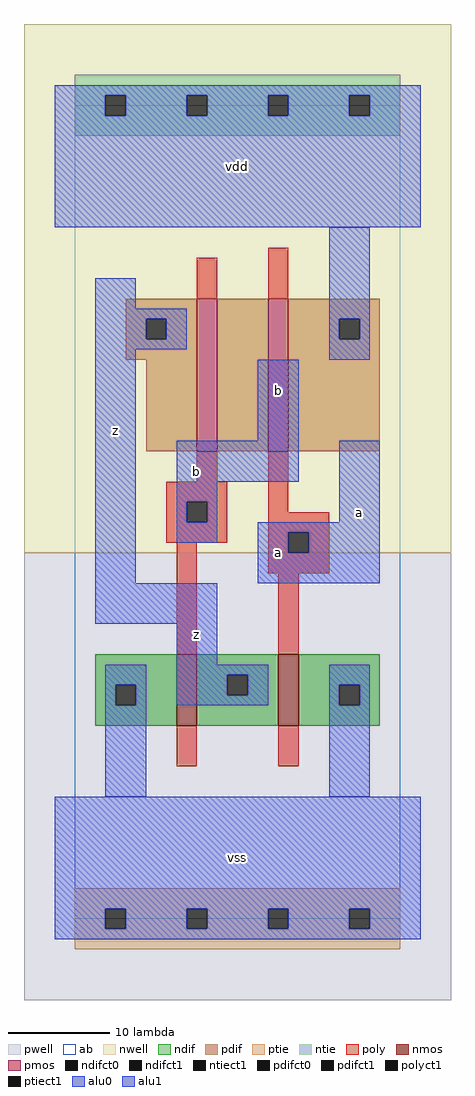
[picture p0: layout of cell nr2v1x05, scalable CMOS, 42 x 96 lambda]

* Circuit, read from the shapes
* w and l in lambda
.subckt nr2v1x05 a b vdd vss z
M1 z b vss vss nfet w=7 l=2
M2 vss a z vss nfet w=7 l=2
M3 n1 b z vdd pfet w=15 l=2
M4 vdd a n1 vdd pfet w=15 l=2
.ends

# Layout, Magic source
magic
tech scmos
<< ab >>
rect 0 0 32 80
<< nwell >>
rect -5 36 37 88
<< pwell >>
rect -5 -8 37 36
<< poly >>
rect 12 61 14 65
rect 19 61 21 66
rect 12 43 14 46
rect 9 41 15 43
rect 9 39 11 41
rect 13 39 15 41
rect 9 37 15 39
rect 19 40 21 46
rect 19 38 25 40
rect 10 26 12 37
rect 19 36 21 38
rect 23 36 25 38
rect 19 34 25 36
rect 20 26 22 34
rect 10 15 12 19
rect 20 15 22 19
<< ndif >>
rect 2 23 10 26
rect 2 21 4 23
rect 6 21 10 23
rect 2 19 10 21
rect 12 24 20 26
rect 12 22 15 24
rect 17 22 20 24
rect 12 19 20 22
rect 22 23 30 26
rect 22 21 26 23
rect 28 21 30 23
rect 22 19 30 21
<< pdif >>
rect 5 59 12 61
rect 5 57 7 59
rect 9 57 12 59
rect 5 55 12 57
rect 7 46 12 55
rect 14 46 19 61
rect 21 59 30 61
rect 21 57 26 59
rect 28 57 30 59
rect 21 46 30 57
<< alu1 >>
rect -2 81 34 82
rect -2 79 3 81
rect 5 79 11 81
rect 13 79 19 81
rect 21 79 27 81
rect 29 79 34 81
rect -2 68 34 79
rect 2 60 6 63
rect 2 59 11 60
rect 2 57 7 59
rect 9 57 11 59
rect 2 56 11 57
rect 2 33 6 56
rect 18 47 22 55
rect 10 43 22 47
rect 10 41 14 43
rect 10 39 11 41
rect 13 39 14 41
rect 26 39 30 47
rect 10 37 14 39
rect 18 38 30 39
rect 18 36 21 38
rect 23 36 30 38
rect 18 33 30 36
rect 2 29 14 33
rect 10 25 14 29
rect 10 24 19 25
rect 10 22 15 24
rect 17 22 19 24
rect 10 21 19 22
rect -2 1 34 12
rect -2 -1 3 1
rect 5 -1 11 1
rect 13 -1 19 1
rect 21 -1 27 1
rect 29 -1 34 1
rect -2 -2 34 -1
<< ptie >>
rect 0 1 32 3
rect 0 -1 3 1
rect 5 -1 11 1
rect 13 -1 19 1
rect 21 -1 27 1
rect 29 -1 32 1
rect 0 -3 32 -1
<< ntie >>
rect 0 81 32 83
rect 0 79 3 81
rect 5 79 11 81
rect 13 79 19 81
rect 21 79 27 81
rect 29 79 32 81
rect 0 77 32 79
<< nmos >>
rect 10 19 12 26
rect 20 19 22 26
<< pmos >>
rect 12 46 14 61
rect 19 46 21 61
<< polyct1 >>
rect 11 39 13 41
rect 21 36 23 38
<< ndifct0 >>
rect 4 21 6 23
rect 26 21 28 23
<< ndifct1 >>
rect 15 22 17 24
<< ntiect1 >>
rect 3 79 5 81
rect 11 79 13 81
rect 19 79 21 81
rect 27 79 29 81
<< ptiect1 >>
rect 3 -1 5 1
rect 11 -1 13 1
rect 19 -1 21 1
rect 27 -1 29 1
<< pdifct0 >>
rect 26 57 28 59
<< pdifct1 >>
rect 7 57 9 59
<< alu0 >>
rect 25 59 29 68
rect 25 57 26 59
rect 28 57 29 59
rect 25 55 29 57
rect 3 23 7 25
rect 3 21 4 23
rect 6 21 7 23
rect 25 23 29 25
rect 25 21 26 23
rect 28 21 29 23
rect 3 12 7 21
rect 25 12 29 21
<< labels >>
rlabel alu1 4 48 4 48 6 z
rlabel alu1 12 28 12 28 6 z
rlabel alu1 12 44 12 44 6 b
rlabel alu1 16 6 16 6 6 vss
rlabel alu1 20 36 20 36 6 a
rlabel alu1 20 52 20 52 6 b
rlabel alu1 16 74 16 74 6 vdd
rlabel alu1 28 40 28 40 6 a
<< end >>
